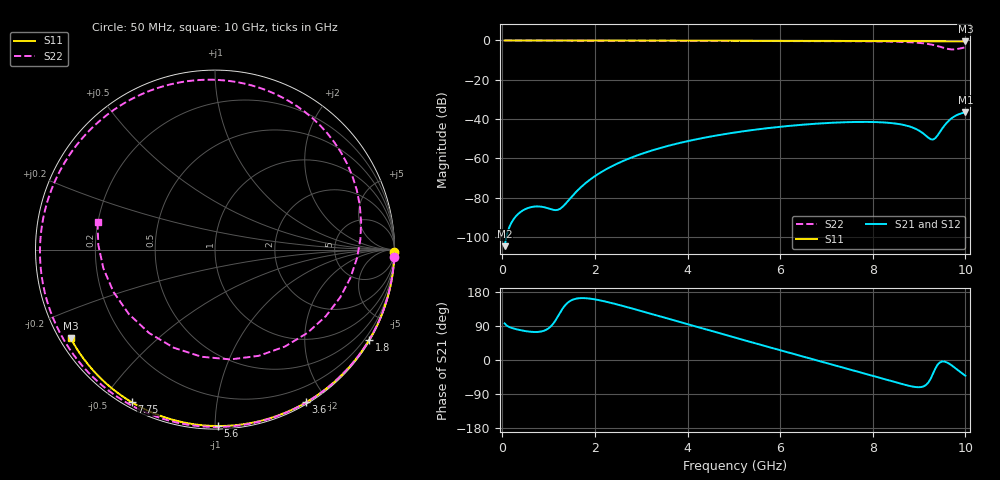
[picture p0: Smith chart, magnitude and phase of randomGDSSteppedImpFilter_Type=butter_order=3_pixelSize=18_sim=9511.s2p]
! freq	dB(S11)	phase(S11)	dB(S12)	phase(S12)
!  dB(S21)	phase(S21)	dB(S22)	phase(S22)
!S-par simulation data
#  GHz  S  DB  R 50
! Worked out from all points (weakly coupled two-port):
!   200 points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, 50 MHz to 10 GHz, reference 50 ohm
!   highest |S21| = -36.59 dB at 10 GHz (marker M1); lowest = -104.6 dB at 50 MHz (marker M2)
!   lowest |S11| = -0.5 dB at 10 GHz (marker M3), VSWR 34.40, Z = 1.57 - j14.1 ohm
!   |S11| at or under -10 dB: nowhere
!   |S22| runs from -4.5 to 0.0 dB; largest |S21 - S12| = 0
!   S11 on the Smith chart (normalised r, x): 50 MHz: open; 1.8 GHz: 0.03, -3.69; 3.6 GHz: 0.02, -1.76; 5.6 GHz: 0.02, -1.02; 7.75 GHz: 0.02, -0.59; 10 GHz: 0.03, -0.28
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0.05  -0.00 -0.9  -104.61 96.6  -104.61 96.6  -0.00 -2.3
0.7  -0.01 -11.9  -84.45 73.8  -84.45 73.8  -0.04 -30.9
1.45  -0.03 -24.5  -80.75 154.6  -80.75 154.6  -0.08 -62.2
1.75  -0.04 -29.5  -73.51 163.3  -73.51 163.3  -0.09 -73.9
1.8  -0.04 -30.3  -72.51 163.1  -72.51 163.1  -0.09 -75.8
2.45  -0.05 -41.0  -62.99 147.6  -62.99 147.6  -0.11 -99.2
3.4  -0.07 -56.1  -54.76 115.3  -54.76 115.3  -0.14 -129.9
3.6  -0.08 -59.2  -53.48 108.3  -53.48 108.3  -0.15 -135.9
4.3  -0.10 -69.9  -49.74 83.9  -49.74 83.9  -0.18 -156.0
5.05  -0.12 -81.0  -46.71 58.1  -46.71 58.1  -0.21 -176.7
5.6  -0.15 -88.9  -44.96 39.4  -44.96 39.4  -0.24 168.2
6.7  -0.20 -104.3  -42.46 2.3  -42.46 2.3  -0.32 136.7
7.75  -0.28 -118.6  -41.42 -33.2  -41.42 -33.2  -0.43 101.3
8.35  -0.33 -126.5  -41.90 -53.9  -41.90 -53.9  -0.58 74.5
8.85  -0.37 -133.2  -44.19 -69.9  -44.19 -69.9  -0.97 42.0
9.1  -0.40 -136.5  -47.48 -69.5  -47.48 -69.5  -1.47 17.1
9.25  -0.42 -138.5  -50.23 -49.5  -50.23 -49.5  -2.02 -3.5
9.4  -0.43 -140.5  -48.26 -12.3  -48.26 -12.3  -2.85 -30.9
9.6  -0.46 -143.1  -41.82 -6.4  -41.82 -6.4  -4.18 -82.0
9.7  -0.47 -144.5  -39.63 -13.8  -39.63 -13.8  -4.54 -112.7
9.8  -0.48 -145.8  -38.13 -23.1  -38.13 -23.1  -4.44 -143.2
10  -0.51 -148.5  -36.59 -41.4  -36.59 -41.4  -3.46 167.0
